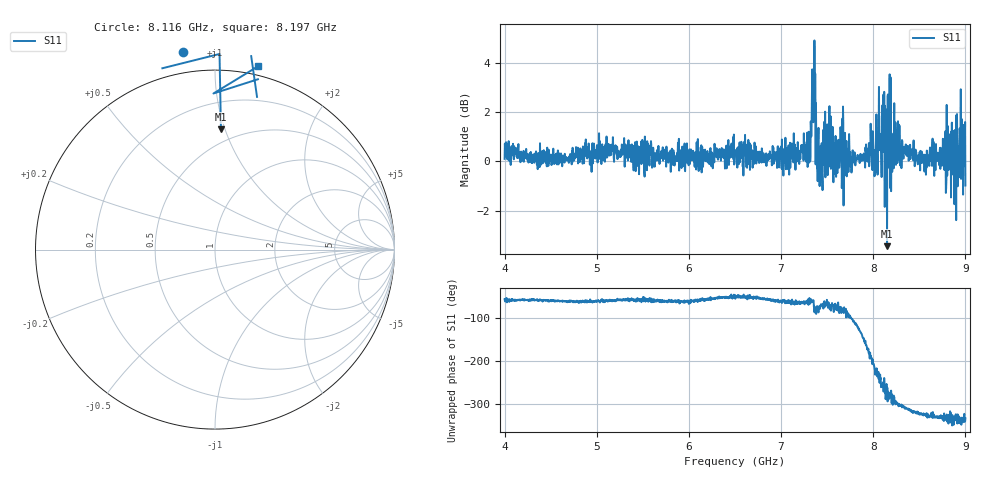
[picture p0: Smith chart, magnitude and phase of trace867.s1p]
! Created with skrf 1.8.0 (http://scikit-rf.org).
# Hz S RI R 50.0
!freq ReS11 ImS11
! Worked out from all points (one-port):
!   1601 points, 4 GHz to 9 GHz, reference 50 ohm
!   lowest |S11| = -3.5 dB at 8.15 GHz (marker M1), VSWR 5.10, Z = 19.8 + j48.5 ohm
!   |S11| at or under -10 dB: nowhere
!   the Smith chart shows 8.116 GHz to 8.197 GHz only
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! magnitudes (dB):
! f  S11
! 4 GHz  0.1
! 4.625 GHz  -0.2
! 5.25 GHz  0.2
! 5.875 GHz  0.0
! 6.5 GHz  0.3
! 7.125 GHz  0.6
! 7.294 GHz  0.4
! 7.347 GHz  2.8
! 7.362 GHz  4.9
! 7.388 GHz  0.7
! 7.4 GHz  0.2
! 7.412 GHz  0.2
! 7.512 GHz  0.5
! 7.588 GHz  0.1
! 7.65 GHz  0.7
! 7.75 GHz  0.4
! 7.969 GHz  0.5
! 8.003 GHz  0.0
! 8.119 GHz  2.8
! 8.15 GHz  -3.5
! 8.178 GHz  3.6
! 8.216 GHz  1.0
! 8.375 GHz  0.6
! 8.581 GHz  0.4
! 8.831 GHz  -0.3
! 8.875 GHz  1.2
! 8.972 GHz  0.8
! 9 GHz  -1.0
